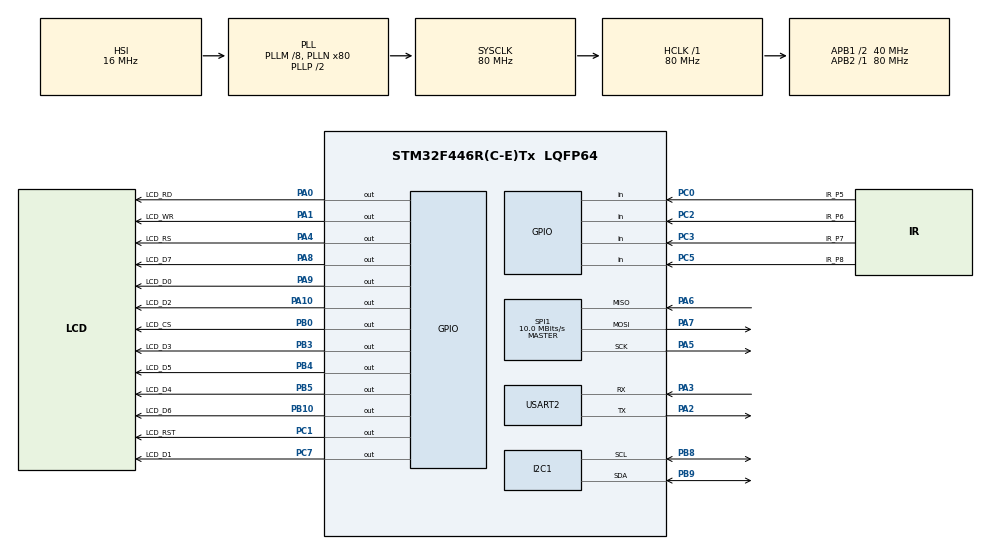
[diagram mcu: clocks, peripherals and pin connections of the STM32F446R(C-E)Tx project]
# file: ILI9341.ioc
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FATFS._MAX_SS=4096
FATFS._USE_LFN=1
Mcu.Family=STM32F4
Mcu.Name=STM32F446R(C-E)Tx
Mcu.Package=LQFP64
NVIC.I2C1_ER_IRQn=true\:0\:0\:false\:false\:true\:true\:true\:true
NVIC.I2C1_EV_IRQn=true\:0\:0\:false\:false\:true\:true\:true\:true
NVIC.PriorityGroup=NVIC_PRIORITYGROUP_4
NVIC.TIM1_TRG_COM_TIM11_IRQn=true\:0\:0\:false\:false\:true\:true\:true\:true
PA0-WKUP.GPIO_Label=LCD_RD
PA0-WKUP.GPIO_Speed=GPIO_SPEED_FREQ_HIGH
PA0-WKUP.Signal=GPIO_Output
PA1.GPIO_Label=LCD_WR
PA1.GPIO_Speed=GPIO_SPEED_FREQ_HIGH
PA1.Signal=GPIO_Output
PA10.GPIO_Label=LCD_D2
PA10.GPIO_Speed=GPIO_SPEED_FREQ_HIGH
PA10.Signal=GPIO_Output
PA13.Mode=Serial_Wire
PA13.Signal=SYS_JTMS-SWDIO
PA14.Mode=Serial_Wire
PA14.Signal=SYS_JTCK-SWCLK
PA2.Mode=Asynchronous
PA2.Signal=USART2_TX
PA3.Mode=Asynchronous
PA3.Signal=USART2_RX
PA4.GPIO_Label=LCD_RS
PA4.GPIO_Speed=GPIO_SPEED_FREQ_HIGH
PA4.Signal=GPIO_Output
PA5.Mode=Full_Duplex_Master
PA5.Signal=SPI1_SCK
PA6.Mode=Full_Duplex_Master
PA6.Signal=SPI1_MISO
PA7.Mode=Full_Duplex_Master
PA7.Signal=SPI1_MOSI
PA8.GPIO_Label=LCD_D7
PA8.GPIO_Speed=GPIO_SPEED_FREQ_HIGH
PA8.Signal=GPIO_Output
PA9.GPIO_Label=LCD_D0
PA9.GPIO_Speed=GPIO_SPEED_FREQ_HIGH
PA9.Signal=GPIO_Output
PB0.GPIO_Label=LCD_CS
PB0.GPIO_Speed=GPIO_SPEED_FREQ_HIGH
PB0.Signal=GPIO_Output
PB10.GPIO_Label=LCD_D6
PB10.GPIO_Speed=GPIO_SPEED_FREQ_HIGH
PB10.Signal=GPIO_Output
PB3.GPIO_Label=LCD_D3
PB3.GPIO_Speed=GPIO_SPEED_FREQ_HIGH
PB3.Signal=GPIO_Output
PB4.GPIO_Label=LCD_D5
PB4.GPIO_Speed=GPIO_SPEED_FREQ_HIGH
PB4.Signal=GPIO_Output
PB5.GPIO_Label=LCD_D4
PB5.GPIO_Speed=GPIO_SPEED_FREQ_HIGH
PB5.Signal=GPIO_Output
PB8.GPIO_Pu=GPIO_NOPULL
PB8.Mode=I2C
PB8.Signal=I2C1_SCL
PB9.GPIO_Pu=GPIO_NOPULL
PB9.Mode=I2C
PB9.Signal=I2C1_SDA
PC0.GPIO_Label=IR_P5
PC0.GPIO_PuPd=GPIO_PULLUP
PC0.Signal=GPIO_Input
PC1.GPIO_Label=LCD_RST
PC1.GPIO_Speed=GPIO_SPEED_FREQ_HIGH
PC1.Signal=GPIO_Output
PC2.GPIO_Label=IR_P6
PC2.GPIO_PuPd=GPIO_PULLUP
PC2.Signal=GPIO_Input
PC3.GPIO_Label=IR_P7
PC3.GPIO_PuPd=GPIO_PULLUP
PC3.Signal=GPIO_Input
PC5.GPIO_Label=IR_P8
PC5.GPIO_PuPd=GPIO_PULLUP
PC5.Signal=GPIO_Input
PC7.GPIO_Label=LCD_D1
PC7.GPIO_Speed=GPIO_SPEED_FREQ_HIGH
PC7.Signal=GPIO_Output
PH0-OSC_IN.Mode=HSE-External-Oscillator
PH0-OSC_IN.Signal=RCC_OSC_IN
PH1-OSC_OUT.Mode=HSE-External-Oscillator
PH1-OSC_OUT.Signal=RCC_OSC_OUT
ProjectManager.HeapSize=0x200
ProjectManager.StackSize=0x400
ProjectManager.TargetToolchain=STM32CubeIDE
RCC.AHBFreq_Value=80000000
RCC.APB1CLKDivider=RCC_HCLK_DIV2
RCC.APB1Freq_Value=40000000
RCC.APB1TimFreq_Value=80000000
RCC.APB2Freq_Value=80000000
RCC.APB2TimFreq_Value=80000000
RCC.CortexFreq_Value=80000000
RCC.HCLKFreq_Value=80000000
RCC.PLLM=8
RCC.PLLN=80
RCC.SYSCLKFreq_VALUE=80000000
RCC.SYSCLKSource=RCC_SYSCLKSOURCE_PLLCLK
RCC.USBFreq_Value=80000000
RCC.VCOOutputFreq_Value=160000000
SPI1.BaudRatePrescaler=SPI_BAUDRATEPRESCALER_8
SPI1.CalculateBaudRate=10.0 MBits/s
SPI1.Direction=SPI_DIRECTION_2LINES
SPI1.Mode=SPI_MODE_MASTER
SPI1.VirtualType=VM_MASTER
TIM11.Period=999
USART2.VirtualMode=VM_ASYNC
VP_FATFS_VS_Generic.Mode=User_defined
VP_TIM11_VS_ClockSourceINT.Mode=Enable_Timer
board=custom

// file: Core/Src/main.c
/* USER CODE BEGIN Header */
/**
  ******************************************************************************
  * @file    main.c
  * @brief   Parqueo_Matic en ILI9341 (320x240, landscape) + I2C1 maestro -> ESP32@0x30
  *
  * - LCD paralelo 8 bits (ILI9341) + overlay del carro con color-key 0xFFFF.
  * - IR locales en PC0/PC2/PC3/PC5 -> P5..P8 (1=ocupado).
  * - I2C1 MASTER hacia ESP32 (esclavo 0x30):
  *       * REG_DN  (0x02, W) = P5..P8 (b0..b3) [se envía solo si cambia]
  *       * REG_ALL (0x03, R) = (P5..P8<<4) | (P1..P4)
  * - Redibujo INCREMENTAL: sólo slots que cambian + panel si cambia el conteo.
  ******************************************************************************
  */
/* USER CODE END Header */
#include "main.h"
#include "fatfs.h"

/* USER CODE BEGIN Includes */
#include <string.h>
#include <stdbool.h>
#include <stdio.h>
#include "ili9341.h"
#include "bitmaps.h"

/* ---- Dígitos grandes tipo display (bitmaps) ----
   NOTA: NO declarar DIGITS_MAP aquí para evitar conflicto; ya viene de bitmaps.h */
#define DIG_H  96
static const uint8_t DIG_W[10] = { 61,60,58,59,60,61,60,58,58,60 };
/* USER CODE END Includes */

/* USER CODE BEGIN PD */
#define IR_ACTIVE_LOW   0     /* 1: sensor baja a 0V cuando detecta (ocupado); 0: activo en HIGH */
#define DEBOUNCE_MS     12

/* ===== Orden de bits P5..P8 (local) =====
   1: b0=P5, b1=P6, b2=P7, b3=P8
   0: b0=P8, b1=P7, b2=P6, b3=P5  */
#define MAP_DN_LSB_IS_P5   1

/* LCD */
#define LCD_W 320
#define LCD_H 240

/* Colores */
#define COL_BG  0xFFFF
#define COL_FG  0x0000

/* Dimensiones originales de bitmaps */
#define PK_W0   63
#define PK_H0  100
#define SEM_W0  40
#define SEM_H0  20
#define CAR_W0  43
#define CAR_H0  92

/* Dimensiones escaladas */
#define PK_W   50    /* ~80% */
#define PK_H   80
#define CAR_W  26    /* ~60% */
#define CAR_H  55
#define SEM_W  36    /* ~90% */
#define SEM_H  18

/* Márgenes / layout */
#define LM   3
#define RM   3
#define TITLE_H 14
#define TITLE_Y 2
#define TITLE_SHIFT_LEFT  6
#define SEM_LABEL_PAD   4
#define ROW_GAP         (SEM_H + 14)
#define EXTRA_ROW_DROP  (SEM_H)
#define Y_UP    (TITLE_H + 2)
#define Y_DOWN (Y_UP + PK_H + ROW_GAP + EXTRA_ROW_DROP)

/* Panel (contador) */
#define PANEL_W_MAX  61
#define PANEL_SHIFT_LEFT   8
#define PANEL_X   (LCD_W - RM - PANEL_W_MAX - PANEL_SHIFT_LEFT)
#define DIG_Y     ((LCD_H - 32)/2)
#define PANEL_TXT_X   (PANEL_X + 4)
#define PANEL_TXT_Y   (DIG_Y - 14)

/* --- I2C protocolo hacia ESP32 esclavo @0x30 --- */
#define ESP32_ADDR      (0x30 << 1)      /* 7-bit -> dirección HAL */
#define REG_UP          0x01
#define REG_DN          0x02
#define REG_ALL         0x03
#define REG_FREE        0x04
#define I2C_TIMEOUT_MS  20
/* USER CODE END PD */

/* USER CODE BEGIN PM */
static inline int PK_X(int i){ return LM + i*PK_W; }
static inline int CAR_X(int i){ return PK_X(i) + (PK_W - CAR_W)/2; }
static inline int CAR_Y(int row_y){ return row_y + (PK_H - CAR_H)/2; }
static inline int SEM_X(int i){ return PK_X(i) + (PK_W - SEM_W)/2; }
static inline int SEM_Y_UP_LABEL(void){ return Y_UP   + PK_H + SEM_LABEL_PAD; }
static inline int SEM_Y_DOWN_LABEL(void){ return Y_DOWN - SEM_H - SEM_LABEL_PAD; }

static inline void UI_Clear(uint16_t color){ LCD_Clear(color); }
static inline void UI_TextSmall(const char* s, int x, int y, uint16_t fg, uint16_t bg){ LCD_Print((char*)s, x, y, 1, fg, bg); }
static inline void UI_TextBig(const char* s, int x, int y, uint16_t fg, uint16_t bg){ LCD_Print((char*)s, x, y, 3, fg, bg); }
static void UI_TextCenteredOffset(const char* s, int y, int xoff, uint16_t fg, uint16_t bg){
  int x = (LCD_W - (int)strlen(s)*6)/2 + xoff; if (x<0) x=0;
  UI_TextSmall(s, x, y, fg, bg);
}
static inline void UI_Bitmap(int x,int y,int w,int h,const uint8_t* data){ LCD_Bitmap(x,y,w,h,(uint8_t*)data); }

static inline uint16_t rd565HL(const uint8_t* p){ return ((uint16_t)p[0]<<8) | p[1]; }
static inline void     wr565HL(uint8_t* p, uint16_t c){ p[0]=(uint8_t)(c>>8); p[1]=(uint8_t)c; }
/* USER CODE END PM */

I2C_HandleTypeDef hi2c1;
SPI_HandleTypeDef hspi1;
TIM_HandleTypeDef htim11;
UART_HandleTypeDef huart2;

/* USER CODE BEGIN PV */
/* Buffers escalados */
static uint8_t g_pk_up[PK_W*PK_H*2];
static uint8_t g_pk_dn[PK_W*PK_H*2];
static uint8_t g_car  [CAR_W*CAR_H*2];
static uint8_t g_semR [SEM_W*SEM_H*2];
static uint8_t g_semV [SEM_W*SEM_H*2];
static uint8_t g_car_comp[CAR_W*CAR_H*2];

static const uint8_t* PK_UP = g_pk_up;
static const uint8_t* PK_DN = g_pk_dn;
static const uint8_t* CAR   = g_car;
static const uint8_t* SEM_R = g_semR;
static const uint8_t* SEM_V = g_semV;

/* Estado (refresco UI) */
static uint8_t prev_up_bits = 0xFF;   // fuerza primer dibujo
static uint8_t prev_dn_bits = 0xFF;
static uint8_t prev_disp     = 0xFF;

/* Debounce IR */
static uint32_t last_scan_ms = 0;

/* Nibbles actuales */
static uint8_t pk_up_bits = 0x00;   /* P1..P4 (arriba) — 1=ocupado (desde ESP32) */
static uint8_t pk_dn_bits = 0x00;   /* P5..P8 (abajo)  — 1=ocupado (LOCAL) */
/* USER CODE END PV */

void SystemClock_Config(void);
static void MX_GPIO_Init(void);
static void MX_SPI1_Init(void);
static void MX_USART2_UART_Init(void);
static void MX_TIM11_Init(void);
static void MX_I2C1_Init(void);
/* USER CODE BEGIN PFP */
static void Scale565_HL_to_HL(const uint8_t* srcHL, int sw, int sh, uint8_t* dstHL, int dw, int dh){
  for (int y = 0; y < dh; ++y) {
    int sy = (y * sh) / dh;
    int srow = sy * sw * 2;
    int drow = y  * dw * 2;
    for (int x = 0; x < dw; ++x) {
      int sx = (x * sw) / dw;
      int si = srow + sx*2;
      int di = drow + x*2;
      dstHL[di + 0] = srcHL[si + 0];
      dstHL[di + 1] = srcHL[si + 1];
    }
  }
}
static void Assets_PrepareScaled(void){
  Scale565_HL_to_HL(ParqueoArriba_map, PK_W0, PK_H0, g_pk_up, PK_W, PK_H);
  Scale565_HL_to_HL(ParqueoABAJO_map,  PK_W0, PK_H0, g_pk_dn, PK_W, PK_H);
  Scale565_HL_to_HL(Carroparqueo_map,  CAR_W0, CAR_H0, g_car,  CAR_W, CAR_H);
  Scale565_HL_to_HL(SemaforoROJO_map,  SEM_W0, SEM_H0, g_semR, SEM_W, SEM_H);
  Scale565_HL_to_HL(SemaforoVERDE_map, SEM_W0, SEM_H0, g_semV, SEM_W, SEM_H);
}

#define CK_WHITE  0xFFFF
static void Compose_Car_Over_Slot(const uint8_t* pkHL, int dx, int dy){
  for (int y=0; y<CAR_H; ++y){
    const uint8_t* pkp = pkHL + ((dy + y) * PK_W * 2) + (dx * 2);
    uint8_t* dp = g_car_comp + (y * CAR_W * 2);
    const uint8_t* cp = CAR + (y * CAR_W * 2);
    for (int x=0; x<CAR_W; ++x){
      uint16_t cC = rd565HL(cp);
      if (cC != CK_WHITE) wr565HL(dp, cC);
      else                wr565HL(dp, rd565HL(pkp));
      dp += 2; cp += 2; pkp += 2;
    }
  }
}

static void DrawSlotBase(int col, int row_y){
  const uint8_t* pk  = (row_y==Y_UP) ? PK_UP : PK_DN;
  UI_Bitmap(PK_X(col), row_y, PK_W, PK_H, pk);
}
static void DrawCarOverlay(int col, int row_y){
  const uint8_t* pk  = (row_y==Y_UP) ? PK_UP : PK_DN;
  int cx = CAR_X(col), cy = CAR_Y(row_y);
  int dx = cx - PK_X(col), dy = cy - row_y;
  Compose_Car_Over_Slot(pk, dx, dy);
  UI_Bitmap(cx, cy, CAR_W, CAR_H, g_car_comp);
}
static void DrawSemLabel(int col, int row_y, bool ocupado){
  const uint8_t* sem = ocupado ? SEM_R : SEM_V;
  int sx = SEM_X(col);
  int sy = (row_y==Y_UP) ? SEM_Y_UP_LABEL() : SEM_Y_DOWN_LABEL();
  UI_Bitmap(sx, sy, SEM_W, SEM_H, sem);
}
static void DrawParqueoSlot_All(int col, int row_y, bool ocupado){
  DrawSlotBase(col, row_y);
  if (ocupado) DrawCarOverlay(col, row_y);
  DrawSemLabel(col, row_y, ocupado);
}

/* === Panel con dígito bitmap centrado === */
static void DrawPanelDigit(uint8_t value){
  if (value > 9) value = 9;  /* display de un solo dígito 0..9 */
  UI_TextSmall("Parqueos disponibles", PANEL_TXT_X, PANEL_TXT_Y, COL_FG, COL_BG);
  int dw = DIG_W[value];
  int dx = PANEL_X + (PANEL_W_MAX - dw)/2; if (dx<0) dx=0;
  UI_Bitmap(dx, DIG_Y, dw, DIG_H, DIGITS_MAP[value]);
}

static inline bool bit_is_set(uint8_t v, int i){ return ((v >> i) & 1) != 0; }

static void UI_RefreshDiff(uint8_t new_up_bits, uint8_t new_dn_bits){
  for (int i=0; i<4; ++i) {
    bool old_up = bit_is_set(prev_up_bits, i);
    bool new_up = bit_is_set(new_up_bits, i);
    if (old_up != new_up) DrawParqueoSlot_All(i, Y_UP, new_up);
  }
  for (int i=0; i<4; ++i) {
    bool old_dn = bit_is_set(prev_dn_bits, i);
    bool new_dn = bit_is_set(new_dn_bits, i);
    if (old_dn != new_dn) DrawParqueoSlot_All(i, Y_DOWN, new_dn);
  }
  int total_free = 0;
  for (int i=0;i<4;i++){
    total_free += (!bit_is_set(new_up_bits, i)) + (!bit_is_set(new_dn_bits, i));
  }
  uint8_t disp = (uint8_t)total_free;
  if (disp != prev_disp) { DrawPanelDigit(disp); prev_disp = disp; }
  prev_up_bits = new_up_bits;
  prev_dn_bits = new_dn_bits;
}

/* -------- Helpers I2C (master) -------- */
static bool I2C_WriteReg(uint8_t reg, uint8_t val){
  return (HAL_I2C_Mem_Write(&hi2c1, ESP32_ADDR, reg, I2C_MEMADD_SIZE_8BIT, &val, 1, I2C_TIMEOUT_MS) == HAL_OK);
}
static bool I2C_ReadReg(uint8_t reg, uint8_t *val){
  return (HAL_I2C_Mem_Read(&hi2c1, ESP32_ADDR, reg, I2C_MEMADD_SIZE_8BIT, val, 1, I2C_TIMEOUT_MS) == HAL_OK);
}

/* -------- Lectura IR P5..P8 (debounce + mapeo) -------- */
static inline uint8_t read_pin(GPIO_TypeDef* port, uint16_t pin){
#if IR_ACTIVE_LOW
  return (HAL_GPIO_ReadPin(port, pin) == GPIO_PIN_RESET) ? 1u : 0u;
#else
  return (HAL_GPIO_ReadPin(port, pin) == GPIO_PIN_SET)   ? 1u : 0u;
#endif
}
static inline uint8_t pack_P5P8(uint8_t p5,uint8_t p6,uint8_t p7,uint8_t p8){
#if MAP_DN_LSB_IS_P5
  return (uint8_t)((p5<<0)|(p6<<1)|(p7<<2)|(p8<<3));
#else
  return (uint8_t)((p5<<3)|(p6<<2)|(p7<<1)|(p8<<0));
#endif
}
static uint8_t ReadIR_P5P8(void){
  uint32_t now = HAL_GetTick();
  if ((now - last_scan_ms) < DEBOUNCE_MS) return pk_dn_bits & 0x0F;
  last_scan_ms = now;
  uint8_t p5 = read_pin(IR_P5_GPIO_Port, IR_P5_Pin);
  uint8_t p6 = read_pin(IR_P6_GPIO_Port, IR_P6_Pin);
  uint8_t p7 = read_pin(IR_P7_GPIO_Port, IR_P7_Pin);
  uint8_t p8 = read_pin(IR_P8_GPIO_Port, IR_P8_Pin);
  return pack_P5P8(p5,p6,p7,p8) & 0x0F;
}
/* USER CODE END PFP */

int main(void)
{
  HAL_Init();
  SystemClock_Config();

  MX_GPIO_Init();
  MX_SPI1_Init();
  MX_USART2_UART_Init();
  MX_FATFS_Init();
  MX_TIM11_Init();
  MX_I2C1_Init();

  /* USER CODE BEGIN 2 */
  LCD_Init();
  Assets_PrepareScaled();

  /* Dibujo inicial (todo libre) */
  {
    bool occ_up[4] = {false,false,false,false};
    bool occ_dn[4] = {false,false,false,false};
    uint8_t disp = 8;
    UI_Clear(COL_BG);
    UI_TextCenteredOffset("Parqueo_Matic", TITLE_Y, -TITLE_SHIFT_LEFT, COL_FG, COL_BG);
    for (int i=0;i<4;i++) DrawParqueoSlot_All(i, Y_UP,   occ_up[i]);
    for (int i=0;i<4;i++) DrawParqueoSlot_All(i, Y_DOWN, occ_dn[i]);
    DrawPanelDigit(disp);
    prev_up_bits = 0x00; prev_dn_bits = 0x00; prev_disp = disp;
  }
  /* USER CODE END 2 */

  while (1)
  {
    /* 1) P5..P8 SIEMPRE locales */
    uint8_t new_dn_local = ReadIR_P5P8();

    /* 2) Enviar REG_DN si cambió */
    static uint8_t dn_prev_sent = 0xFF;
    if ((new_dn_local & 0x0F) != (dn_prev_sent & 0x0F)) {
      (void)I2C_WriteReg(REG_DN, (new_dn_local & 0x0F));
      dn_prev_sent = new_dn_local & 0x0F;
    }

    /* 3) Leer REG_ALL y tomar SOLO P1..P4 (nibble bajo).
          Si falla la lectura: P1..P4 = 0. */
    uint8_t all = 0xFF;
    if (I2C_ReadReg(REG_ALL, &all)) {
      pk_up_bits = (all & 0x0F);        /* P1..P4 (arriba) desde ESP32 */
    } else {
      pk_up_bits = 0x00;                /* sin dato del ESP32 → arriba=0 */
    }

    /* 4) Para la UI, abajo SIEMPRE el local recién leído */
    pk_dn_bits = new_dn_local & 0x0F;

    /* 5) Refresco incremental */
    UI_RefreshDiff(pk_up_bits, pk_dn_bits);

    HAL_Delay(50); /* ~20 Hz */
  }
}

/* === Resto: init HAL tal como lo tenías === */
void SystemClock_Config(void)
{
  RCC_OscInitTypeDef RCC_OscInitStruct = {0};
  RCC_ClkInitTypeDef RCC_ClkInitStruct = {0};

  __HAL_RCC_PWR_CLK_ENABLE();
  __HAL_PWR_VOLTAGESCALING_CONFIG(PWR_REGULATOR_VOLTAGE_SCALE3);

  RCC_OscInitStruct.OscillatorType = RCC_OSCILLATORTYPE_HSI;
  RCC_OscInitStruct.HSIState = RCC_HSI_ON;
  RCC_OscInitStruct.HSICalibrationValue = RCC_HSICALIBRATION_DEFAULT;
  RCC_OscInitStruct.PLL.PLLState = RCC_PLL_ON;
  RCC_OscInitStruct.PLL.PLLSource = RCC_PLLSOURCE_HSI;
  RCC_OscInitStruct.PLL.PLLM = 8;
  RCC_OscInitStruct.PLL.PLLN = 80;
  RCC_OscInitStruct.PLL.PLLP = RCC_PLLP_DIV2;
  RCC_OscInitStruct.PLL.PLLQ = 2;
  RCC_OscInitStruct.PLL.PLLR = 2;
  if (HAL_RCC_OscConfig(&RCC_OscInitStruct) != HAL_OK) { Error_Handler(); }

  RCC_ClkInitStruct.ClockType = RCC_CLOCKTYPE_HCLK|RCC_CLOCKTYPE_SYSCLK
                              |RCC_CLOCKTYPE_PCLK1|RCC_CLOCKTYPE_PCLK2;
  RCC_ClkInitStruct.SYSCLKSource = RCC_SYSCLKSOURCE_PLLCLK;
  RCC_ClkInitStruct.AHBCLKDivider = RCC_SYSCLK_DIV1;
  RCC_ClkInitStruct.APB1CLKDivider = RCC_HCLK_DIV2;
  RCC_ClkInitStruct.APB2CLKDivider = RCC_HCLK_DIV1;
  if (HAL_RCC_ClockConfig(&RCC_ClkInitStruct, FLASH_LATENCY_2) != HAL_OK) { Error_Handler(); }
}

static void MX_I2C1_Init(void)
{
  hi2c1.Instance = I2C1;
  hi2c1.Init.ClockSpeed = 100000;
  hi2c1.Init.DutyCycle = I2C_DUTYCYCLE_2;
  hi2c1.Init.OwnAddress1 = 0;
  hi2c1.Init.AddressingMode = I2C_ADDRESSINGMODE_7BIT;
  hi2c1.Init.DualAddressMode = I2C_DUALADDRESS_DISABLE;
  hi2c1.Init.OwnAddress2 = 0;
  hi2c1.Init.GeneralCallMode = I2C_GENERALCALL_DISABLE;
  hi2c1.Init.NoStretchMode = I2C_NOSTRETCH_DISABLE;
  if (HAL_I2C_Init(&hi2c1) != HAL_OK) { Error_Handler(); }
}

static void MX_SPI1_Init(void)
{
  hspi1.Instance = SPI1;
  hspi1.Init.Mode = SPI_MODE_MASTER;
  hspi1.Init.Direction = SPI_DIRECTION_2LINES;
  hspi1.Init.DataSize = SPI_DATASIZE_8BIT;
  hspi1.Init.CLKPolarity = SPI_POLARITY_LOW;
  hspi1.Init.CLKPhase = SPI_PHASE_1EDGE;
  hspi1.Init.NSS = SPI_NSS_SOFT;
  hspi1.Init.BaudRatePrescaler = SPI_BAUDRATEPRESCALER_8;
  hspi1.Init.FirstBit = SPI_FIRSTBIT_MSB;
  hspi1.Init.TIMode = SPI_TIMODE_DISABLE;
  hspi1.Init.CRCCalculation = SPI_CRCCALCULATION_DISABLE;
  hspi1.Init.CRCPolynomial = 10;
  if (HAL_SPI_Init(&hspi1) != HAL_OK) { Error_Handler(); }
}

static void MX_TIM11_Init(void)
{
  htim11.Instance = TIM11;
  htim11.Init.Prescaler = 0;
  htim11.Init.CounterMode = TIM_COUNTERMODE_UP;
  htim11.Init.Period = 999;
  htim11.Init.ClockDivision = TIM_CLOCKDIVISION_DIV1;
  htim11.Init.AutoReloadPreload = TIM_AUTORELOAD_PRELOAD_DISABLE;
  if (HAL_TIM_Base_Init(&htim11) != HAL_OK) { Error_Handler(); }
}

static void MX_USART2_UART_Init(void)
{
  huart2.Instance = USART2;
  huart2.Init.BaudRate = 115200;
  huart2.Init.WordLength = UART_WORDLENGTH_8B;
  huart2.Init.StopBits = UART_STOPBITS_1;
  huart2.Init.Parity = UART_PARITY_NONE;
  huart2.Init.Mode = UART_MODE_TX_RX;
  huart2.Init.HwFlowCtl = UART_HWCONTROL_NONE;
  huart2.Init.OverSampling = UART_OVERSAMPLING_16;
  if (HAL_UART_Init(&huart2) != HAL_OK) { Error_Handler(); }
}

static void MX_GPIO_Init(void)
{
  GPIO_InitTypeDef GPIO_InitStruct = {0};

  __HAL_RCC_GPIOH_CLK_ENABLE();
  __HAL_RCC_GPIOC_CLK_ENABLE();
  __HAL_RCC_GPIOA_CLK_ENABLE();
  __HAL_RCC_GPIOB_CLK_ENABLE();

  /* IR P5..P8 como INPUT (pull-up según tu HW) */
  GPIO_InitStruct.Pin = IR_P5_Pin|IR_P6_Pin|IR_P7_Pin|IR_P8_Pin;
  GPIO_InitStruct.Mode = GPIO_MODE_INPUT;
  GPIO_InitStruct.Pull = GPIO_PULLUP;
  HAL_GPIO_Init(GPIOC, &GPIO_InitStruct);

  /* LCD control/data (como tenías) */
  HAL_GPIO_WritePin(GPIOC, LCD_RST_Pin|LCD_D1_Pin, GPIO_PIN_RESET);
  HAL_GPIO_WritePin(GPIOA, LCD_RD_Pin|LCD_WR_Pin|LCD_RS_Pin|LCD_D7_Pin|LCD_D0_Pin|LCD_D2_Pin, GPIO_PIN_RESET);
  HAL_GPIO_WritePin(GPIOB, LCD_CS_Pin|LCD_D6_Pin|LCD_D3_Pin|LCD_D5_Pin|LCD_D4_Pin, GPIO_PIN_RESET);

  GPIO_InitStruct.Pin = LCD_RST_Pin|LCD_D1_Pin;
  GPIO_InitStruct.Mode = GPIO_MODE_OUTPUT_PP;
  GPIO_InitStruct.Pull = GPIO_NOPULL;
  GPIO_InitStruct.Speed = GPIO_SPEED_FREQ_HIGH;
  HAL_GPIO_Init(GPIOC, &GPIO_InitStruct);

  GPIO_InitStruct.Pin = LCD_RD_Pin|LCD_WR_Pin|LCD_RS_Pin|LCD_D7_Pin|LCD_D0_Pin|LCD_D2_Pin;
  GPIO_InitStruct.Mode = GPIO_MODE_OUTPUT_PP;
  GPIO_InitStruct.Pull = GPIO_NOPULL;
  GPIO_InitStruct.Speed = GPIO_SPEED_FREQ_HIGH;
  HAL_GPIO_Init(GPIOA, &GPIO_InitStruct);

  GPIO_InitStruct.Pin = LCD_CS_Pin|LCD_D6_Pin|LCD_D3_Pin|LCD_D5_Pin|LCD_D4_Pin;
  GPIO_InitStruct.Mode = GPIO_MODE_OUTPUT_PP;
  GPIO_InitStruct.Pull = GPIO_NOPULL;
  GPIO_InitStruct.Speed = GPIO_SPEED_FREQ_HIGH;
  HAL_GPIO_Init(GPIOB, &GPIO_InitStruct);
}

void Error_Handler(void)
{
  __disable_irq();
  while (1) { }
}
